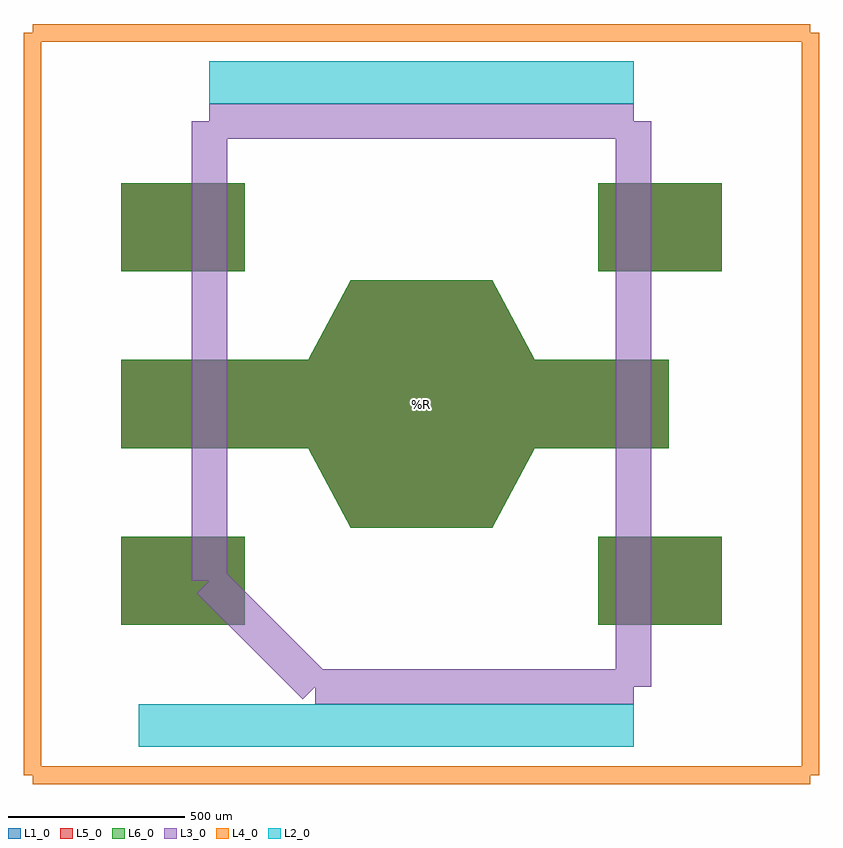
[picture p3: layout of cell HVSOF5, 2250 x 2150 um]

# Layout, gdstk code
import gdstk
lib = gdstk.Library(unit=1e-6, precision=1e-09)
def R(c, l, rs):  # rectangles x0, y0, x1, y1
    for r in rs: c.add(gdstk.rectangle(r[:2], r[2:], *l))
def P(c, l, *ps):  # polygons
    for p in ps: c.add(gdstk.Polygon(p, *l))
L1_0 = (1, 0)
L2_0 = (2, 0)
L3_0 = (3, 0)
L4_0 = (4, 0)
L5_0 = (5, 0)
L6_0 = (6, 0)

hvsof5 = lib.new_cell('HVSOF5')
R(hvsof5, L1_0, [(-850,-625,-500,-375), (500,-625,850,-375), (-850,375,-500,625), (500,375,850,625)])
P(hvsof5, L1_0, [(-850,-125),(-320,-125),(-200,-350),(200,-350),(320,-125),(700,-125),(700,125),(320,125),(200,350),(-200,350),(-320,125),(-850,125)])
R(hvsof5, L5_0, [(-850,-625,-500,-375), (500,-625,850,-375), (-850,375,-500,625), (500,375,850,625)])
P(hvsof5, L5_0, [(-850,-125),(-320,-125),(-200,-350),(200,-350),(320,-125),(700,-125),(700,125),(320,125),(200,350),(-200,350),(-320,125),(-850,125)])
R(hvsof5, L6_0, [(-850,-625,-500,-375), (500,-625,850,-375), (-850,375,-500,625), (500,375,850,625)])
P(hvsof5, L6_0, [(-850,-125),(-320,-125),(-200,-350),(200,-350),(320,-125),(700,-125),(700,125),(320,125),(200,350),(-200,350),(-320,125),(-850,125)])
hvsof5.add(gdstk.FlexPath([(-600,-500),(-300,-800)], 100, ends="flush", simple_path=True, layer=3, datatype=0))  # L3_0
hvsof5.add(gdstk.FlexPath([(-600,-500),(-600,800)], 100, ends="flush", simple_path=True, layer=3, datatype=0))  # L3_0
hvsof5.add(gdstk.FlexPath([(600,-800),(600,800)], 100, ends="flush", simple_path=True, layer=3, datatype=0))  # L3_0
hvsof5.add(gdstk.FlexPath([(600,800),(-600,800)], 100, ends="flush", simple_path=True, layer=3, datatype=0))  # L3_0
hvsof5.add(gdstk.FlexPath([(600,-800),(-300,-800)], 100, ends="flush", simple_path=True, layer=3, datatype=0))  # L3_0
hvsof5.add(gdstk.FlexPath([(-600,910),(600,910)], 120, ends="flush", simple_path=True, layer=2, datatype=0))  # L2_0
hvsof5.add(gdstk.FlexPath([(-800,-910),(600,-910)], 120, ends="flush", simple_path=True, layer=2, datatype=0))  # L2_0
hvsof5.add(gdstk.FlexPath([(-1100,-1050),(1100,-1050)], 50, ends="flush", simple_path=True, layer=4, datatype=0))  # L4_0
hvsof5.add(gdstk.FlexPath([(-1100,-1050),(-1100,1050)], 50, ends="flush", simple_path=True, layer=4, datatype=0))  # L4_0
hvsof5.add(gdstk.FlexPath([(1100,1050),(1100,-1050)], 50, ends="flush", simple_path=True, layer=4, datatype=0))  # L4_0
hvsof5.add(gdstk.FlexPath([(1100,1050),(-1100,1050)], 50, ends="flush", simple_path=True, layer=4, datatype=0))  # L4_0
hvsof5.add(gdstk.Label('REF**', (0,-1800), layer=2, texttype=0))
hvsof5.add(gdstk.Label('HVSOF5', (0,1900), layer=3, texttype=0))
hvsof5.add(gdstk.Label('%R', (0,0), layer=3, texttype=0))

lib.write_gds('HVSOF5.gds')
